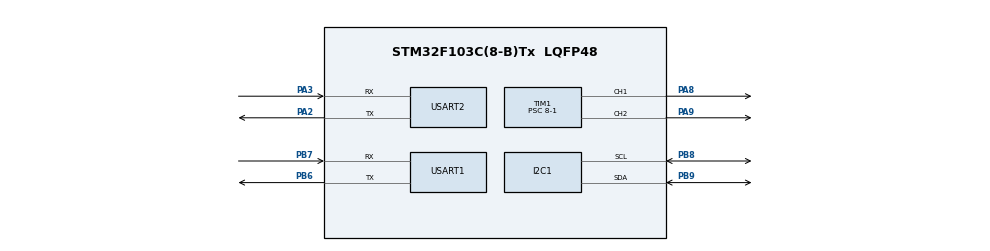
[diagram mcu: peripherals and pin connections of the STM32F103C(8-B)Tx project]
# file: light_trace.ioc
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Mcu.Family=STM32F1
Mcu.Name=STM32F103C(8-B)Tx
Mcu.Package=LQFP48
NVIC.PriorityGroup=NVIC_PRIORITYGROUP_4
NVIC.TIM2_IRQn=true\:0\:0\:true\:false\:true\:true\:true
NVIC.USART1_IRQn=true\:0\:0\:true\:false\:true\:true\:true
PA2.Mode=Asynchronous
PA2.Signal=USART2_TX
PA3.Mode=Asynchronous
PA3.Signal=USART2_RX
PA8.Signal=S_TIM1_CH1
PA9.Signal=S_TIM1_CH2
PB6.Mode=Asynchronous
PB6.Signal=USART1_TX
PB7.Mode=Asynchronous
PB7.Signal=USART1_RX
PB8.Mode=I2C
PB8.Signal=I2C1_SCL
PB9.Mode=I2C
PB9.Signal=I2C1_SDA
ProjectManager.HeapSize=0x200
ProjectManager.StackSize=0x400
ProjectManager.TargetToolchain=MDK-ARM V5.27
RCC.APB1Freq_Value=8000000
RCC.APB2Freq_Value=8000000
SH.S_TIM1_CH1.0=TIM1_CH1,PWM Generation1 CH1
SH.S_TIM1_CH2.0=TIM1_CH2,PWM Generation2 CH2
TIM1.AutoReloadPreload=TIM_AUTORELOAD_PRELOAD_ENABLE
TIM1.Channel-PWM\ Generation1\ CH1=TIM_CHANNEL_1
TIM1.Channel-PWM\ Generation2\ CH2=TIM_CHANNEL_2
TIM1.Period=20000
TIM1.Prescaler=8-1
TIM2.AutoReloadPreload=TIM_AUTORELOAD_PRELOAD_ENABLE
TIM2.Channel-Output\ Compare1\ No\ Output=TIM_CHANNEL_1
TIM2.Period=50000
TIM2.Prescaler=8-1
USART1.VirtualMode=VM_ASYNC
USART2.VirtualMode=VM_ASYNC
VP_SYS_VS_ND.Mode=No_Debug
VP_TIM1_VS_ClockSourceINT.Mode=Internal
VP_TIM2_VS_no_output1.Mode=Output Compare1 No Output
board=custom

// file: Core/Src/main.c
/* USER CODE BEGIN Header */
/**
  ******************************************************************************
  * @file           : main.c
  * @brief          : 激光追踪装置程序
  * @LastChangeTime : 2021.4.24 6:11
  * @version        : V2.0.0
  * @author         : MengCheng
  ******************************************************************************
  * @attention
  *
  * <h2><center>&copy; Copyright (c) 2021 STMicroelectronics.
  * All rights reserved.</center></h2>
  *
  * 此为武汉理工大学电赛初赛E题激光打靶工程文件，工程采用stm32f103c8t6为主控，与
  * 进行物体识别的openmv进行串口数据通信，从而达到追踪物体并成功打靶的效果。思路更改为PID调节
  * 程序大体上不再修改
  ******************************************************************************
  */

/* USER CODE END Header */
#include "main.h"
#include "i2c.h"
#include "tim.h"
#include "usart.h"
#include "gpio.h"

/* USER CODE BEGIN Includes */
#include "servo.h"
/* USER CODE END Includes */

/* USER CODE BEGIN PD */
/**
  * @brief  串口发送函数
  * @retval None
  */
#include "stdio.h"
#include "stdarg.h"
#include "string.h"

#define    TXBUF_SIZE_MAX    100

void uartx_printf(UART_HandleTypeDef huartx, const char *format, ...)
{
    va_list args;
    uint32_t length;
    uint8_t txbuf[TXBUF_SIZE_MAX] = {0};

    va_start(args, format);
    length = vsnprintf((char *)txbuf, sizeof(txbuf), (char *)format, args);
    va_end(args);
    HAL_UART_Transmit(&huartx, (uint8_t *)txbuf, length, HAL_MAX_DELAY);
    memset(txbuf, 0, TXBUF_SIZE_MAX);
};

/**
  * @brief  串口调试
  * @retval None
  */
#define DEBUG
#ifdef DEBUG
#define DBG(format, ...) fprintf(stdout, "[\tDBG](File:%s, Func:%s(), Line:%d): " \
                                 , __FILE__, __FUNCTION__, __LINE__);             \
                         fprintf(stdout, format"\r\n", ##__VA_ARGS__)
#else
#define DBG(format, ...)  do {} while (0)
#endif
/* USER CODE END PD */

/* USER CODE BEGIN PV */
uint8_t UART1_RxBuffer, UART2_RxBuffer;
uint8_t buffer1[8] = "\0";
uint16_t Real_x, Real_y, Rx_x, Rx_y;
uint8_t adjustment_flag = 0;
uint8_t Target_Flag = 0;

/* USER CODE END PV */

void SystemClock_Config(void);

/* USER CODE BEGIN 0 */
int fputc(int ch, FILE *f){
    uint8_t temp[1] = {ch};
    HAL_UART_Transmit(&huart2, temp, 1, 2);//huart1 根据配置修改
    return ch;
}
/* USER CODE END 0 */

int main(void)
{
  /* USER CODE BEGIN 1 */
//	uint8_t angle1 = 60;
//	uint8_t angle2 = 60;
//	int8_t angle_delta = 30;

  /* USER CODE END 1 */

  /* MCU Configuration--------------------------------------------------------*/

  /* Reset of all peripherals, Initializes the Flash interface and the Systick. */
  HAL_Init();

  /* USER CODE BEGIN Init */

  //DBG("have received successfully!\r\n");
  /* USER CODE END Init */

  /* Configure the system clock */
  SystemClock_Config();

  /* Initialize all configured peripherals */
  MX_GPIO_Init();
  MX_I2C1_Init();
  MX_TIM1_Init();
  MX_USART1_UART_Init();
  MX_USART2_UART_Init();
  MX_TIM2_Init();
  /* USER CODE BEGIN 2 */
	//system_init();
  HAL_TIM_Base_Start_IT(&htim2); //开启定时器中断
  HAL_TIM_PWM_Start(&htim1, TIM_CHANNEL_1); //开启pwm
	HAL_TIM_PWM_Start(&htim1, TIM_CHANNEL_2); //开启PWM
	HAL_UART_Receive_IT(&huart1, (uint8_t*)&UART1_RxBuffer, 1); //开启串口中断
  PID_Init();
//  DBG("hello");
  Servo_Init(); //云台初始化，两自由度均为90°
  PID_Init(); //PID初始化
//  DBG("hello");
  //DBG("have received successfully!\r\n");
  /* USER CODE END 2 */

  /* Infinite loop */
  /* USER CODE BEGIN WHILE */
  while (1)
  {
    //DBG("have received successfully!\r\n");
    /*调节方案一Servo_Platform_Search() == HAL_OK*/
//      while(Target_Flag == Target_Detected && Target_Location_Error > 1) //云台巡检
//        Servo_Platform_Track(Real_x, Real_y);

//    angle_delta =~ angle_delta;
//
//		Servo_SetAngles(1, 1, angle1+angle_delta, 1);
//		HAL_Delay(500);
//		Servo_SetAngles(1, 2, angle2+angle_delta, 1);
//		HAL_Delay(500);
//    uint8_t dt;
      //DBG("have received successfully!\r\n");

    /****      调节方案二：旋转角和俯仰角PID调节代码(应放在定时器里)      *****/
//    positionx_pid.measured_value =  Real_x;
//    positionx_pid.error          =  positionx_pid.measured_value - positionx_pid.set_value;
//    positionx_pid.integral       =  positionx_pid.integral + positionx_pid.error * dt; //dt为采样频率
//    positionx_pid.derival        =  (positionx_pid.error - positionx_pid.passive_error) / dt; //dt为采样频率（用定时器中断）
//    positionx_pid.output         =  positionx_pid.kp * positionx_pid.error + positionx_pid.ki * positionx_pid.integral + positionx_pid.kd * positionx_pid.derival;
//    positionx_pid.passive_error  =  positionx_pid.error;
//
//    positiony_pid.measured_value =  Real_y;
//    positiony_pid.error          =  positiony_pid.measured_value - positiony_pid.set_value;
//    positiony_pid.integral       =  positiony_pid.integral + positiony_pid.error * dt; //dt为采样频率
//    positiony_pid.derival        =  (positiony_pid.error - positiony_pid.passive_error) / dt; //dt为采样频率（用定时器中断）
//    positiony_pid.output         =  positiony_pid.kp * positiony_pid.error + positiony_pid.ki * positiony_pid.integral + positiony_pid.kd * positiony_pid.derival;
//    positiony_pid.passive_error  =  positiony_pid.error;
//
//    Servo_Platform_Track(positionx_pid.output, positiony_pid.output);
    /****      旋转角和俯仰角PID调节代码END      *****/

//    positionx_pid.measured_value =  Real_x;
//    positionx_pid.error          =  positionx_pid.set_value - positionx_pid.measured_value;
//    positionx_pid.integral       =  positionx_pid.integral + positionx_pid.error * dt; //dt为采样频率
//    positionx_pid.derival        =  (positionx_pid.error - positionx_pid.passive_error) / dt; //dt为采样频率（用定时器中断）
//    output_temp                  =  positionx_pid.kp * positionx_pid.error + positionx_pid.ki * positionx_pid.integral + positionx_pid.kd * positionx_pid.derival + Real_x;
//    positionx_pid.output         =  output_temp > 2500 ? 2500 : output_temp;
//    positionx_pid.output         =  output_temp <  500 ?  500 : output_temp;
//    positionx_pid.passive_error  =  positionx_pid.error;
//    //DBG("have received successfully!\r\n");
//    positiony_pid.measured_value =  Real_y;
//    positiony_pid.error          =  positiony_pid.set_value - positiony_pid.measured_value;
//    positiony_pid.integral       =  positiony_pid.integral + positiony_pid.error * dt; //dt为采样频率
//    positiony_pid.derival        =  (positiony_pid.error - positiony_pid.passive_error) / dt; //dt为采样频率（用定时器中断）
//    output_temp                  =  Real_y - positiony_pid.kp * positiony_pid.error + positiony_pid.ki * positiony_pid.integral + positiony_pid.kd * positiony_pid.derival ;
//    positionx_pid.output         =  output_temp > 2500 ? 2500 : output_temp;
//    positionx_pid.output         =  output_temp <  500 ?  500 : output_temp;
//    positiony_pid.passive_error  =  positiony_pid.error;
    /*每20ms采样一次*/
    // DBG("have received successfully!\r\n");
      //DBG("have received successfully!\r\n");

//    while(buffer1[i] != '\0'){
//      HAL_UART_Transmit(&huart2, buffer1+i, 1, HAL_MAX_DELAY);
//      i++;
//    }
    if(Target_Flag){
      Tim_SetPWM(1, 1, positionx_pid.output); //
      Tim_SetPWM(1, 2, positiony_pid.output);
    }
//      Tim_SetPWM(1,1,2500);
//      HAL_Delay(1000);
//      Tim_SetPWM(1,1,500);
//      HAL_Delay(1000);
    //DBG("have received successfully!\r\n");
  }
    /* USER CODE END WHILE */

}

void SystemClock_Config(void)
{
  RCC_OscInitTypeDef RCC_OscInitStruct = {0};
  RCC_ClkInitTypeDef RCC_ClkInitStruct = {0};

  /** Initializes the RCC Oscillators according to the specified parameters
  * in the RCC_OscInitTypeDef structure.
  */
  RCC_OscInitStruct.OscillatorType = RCC_OSCILLATORTYPE_HSI;
  RCC_OscInitStruct.HSIState = RCC_HSI_ON;
  RCC_OscInitStruct.HSICalibrationValue = RCC_HSICALIBRATION_DEFAULT;
  RCC_OscInitStruct.PLL.PLLState = RCC_PLL_NONE;
  if (HAL_RCC_OscConfig(&RCC_OscInitStruct) != HAL_OK)
  {
    Error_Handler();
  }
  /** Initializes the CPU, AHB and APB buses clocks
  */
  RCC_ClkInitStruct.ClockType = RCC_CLOCKTYPE_HCLK|RCC_CLOCKTYPE_SYSCLK
                              |RCC_CLOCKTYPE_PCLK1|RCC_CLOCKTYPE_PCLK2;
  RCC_ClkInitStruct.SYSCLKSource = RCC_SYSCLKSOURCE_HSI;
  RCC_ClkInitStruct.AHBCLKDivider = RCC_SYSCLK_DIV1;
  RCC_ClkInitStruct.APB1CLKDivider = RCC_HCLK_DIV1;
  RCC_ClkInitStruct.APB2CLKDivider = RCC_HCLK_DIV1;

  if (HAL_RCC_ClockConfig(&RCC_ClkInitStruct, FLASH_LATENCY_0) != HAL_OK)
  {
    Error_Handler();
  }
}

/* USER CODE BEGIN 4 */
/**
  * @brief  系统初始化
  * @param  None
  * @retval None
  */
//void system_init()
//{
////	servo_init();
//
//}

/**
  * @brief  串口中断回调函数
  * @param  huart:串口
  * @retval 外部函数调用的就是x,y坐标
  * @claim  首先测试一下这种接收方式的可行性，然后再考虑加入指针便利数组接收数据
  */
//void HAL_UART_RxCpltCallback(UART_HandleTypeDef *huart)
//{
//  uint8_t temp = 0;
//  static uint8_t flag = 0, count = 0;
//  static uint32_t sum = 0;

//  //__HAL_UART_CLEAR_PEFLAG(huart); //串口接收清空错误标志
//  if(huart -> Instance == USART1 ) //如果是串口1
//  {
//      //DBG("have received successfully!\r\n");
//      temp = UART1_RxBuffer;
//      if(flag)
//        count++;
//      if((count == 0) && (temp == 0xff)){
//        flag = 1;
//        buffer1[0] = temp;
//        //DBG("have received successfully!\r\n");
//      }
//      //DBG("have received successfully!\r\n");
//      else if(count == 1 && temp < 0xff){
//          buffer1[1] = temp;
//          Rx_x = temp << 8;
//      }
//
//      else if(count == 2){
//        if(temp == 0){
//          Target_Flag = 0;
//          buffer1[2] = temp;
//          //DBG("have received successfully!\r\n");
//        }
//        else{
//          Target_Flag = 1;
//          buffer1[2] = temp;
//          Rx_x |= temp;
//          sum = Rx_x;
//        }
//      }
//
//      else if(count == 3){
//        buffer1[3] = temp;
//        Rx_y = temp << 8;
//
//      }
//      else if(count == 4){
//        buffer1[4] = temp;
//        Rx_y |= temp;
//        Real_y = Rx_y;
//        sum += temp;
//      }
//      else if(count == 5 && sum%254 == temp){
//        buffer1[5] = temp;
//        if(Target_Flag == 1){
//         Real_x = Rx_x;
//         Real_y = Rx_y;
//        }
////        buffer1[6] = temp;
//        //DBG("have received successfully!\r\n");
////        Target_Flag = Target_Detected;
//        //DBG("have received successfully!\r\n");
//      }
//      //DBG("have received successfully!\r\n");
//     else if((count == 6) && (temp == 0xfe))
//     {
//       count = 0;
//       flag = 0;
//       //DBG("have received successfully!\r\n");
//     }
//
////        //加个数据处理
//     //uartx_printf(huart2, "%x %x %x %x %x\r\n", 0xff, Real_x, Real_y, buffer1[5], 0xfe);
//     HAL_UART_Receive_IT(&huart1, (uint8_t*)&UART1_RxBuffer, 1); //重新开启中断
//        //HAL_UART_Transmit(&huart2, &Real_x, 1, HAL_MAX_DELAY);
//   }
//
//}
 /*封存*/
void HAL_UART_RxCpltCallback(UART_HandleTypeDef *huart)
{
  static uint8_t count = 0;
  static uint32_t sum = 0;
  if(huart -> Instance == USART1) //如果是串口1
  {
      if((count == 0) && (UART1_RxBuffer == 0xff))
      {
        count++;
        buffer1[0] = UART1_RxBuffer;
      }
      else if(count == 1 && UART1_RxBuffer < 0xff)
        {
          buffer1[1] = UART1_RxBuffer;
          count++;
        }
      else if(count == 2 && UART1_RxBuffer <= 0xff)
      {
          buffer1[2] = UART1_RxBuffer;
          count++;
        if(UART1_RxBuffer == 0)
        {
          Target_Flag = 0;
        }
        else
        {
          Target_Flag = 1;
        }
      }
      else if(count == 3 && UART1_RxBuffer < 0xff)
      {
          buffer1[3] = UART1_RxBuffer;
          count++;
      }
      else if(count == 4 && UART1_RxBuffer <= 0xff)
      {
          buffer1[4] = UART1_RxBuffer;
          count++;
          sum= ((buffer1[1]<<8|buffer1[2])+(buffer1[3]<<8|buffer1[4]))%254;
      }
      else if(count == 5 && UART1_RxBuffer==sum)
      {
          buffer1[5] = UART1_RxBuffer;
          count++;
      }
      else if((count == 6) && (UART1_RxBuffer == 0xfe))
      {
          count = 0;
          buffer1[6] = UART1_RxBuffer;
          Real_x=buffer1[1]<<8|buffer1[2];
          Real_y=buffer1[3]<<8|buffer1[4];
          //HAL_UART_Transmit(&huart2, buffer1, 7, HAL_MAX_DELAY);
      }
      else
      {
         count = 0;
         Target_Flag =0;
      }
//        //加个数据处理
     //uartx_printf(huart2, "%x %x %x %x %x\r\n", 0xff, Real_x, Real_y, buffer1[5], 0xfe);
     HAL_UART_Receive_IT(&huart1, (uint8_t*)&UART1_RxBuffer, 1); //重新开启中断

   }
}

/*20ms为周期开始的中断*/
/**
  * @brief  定时器中断回调函数
  * @param  xxxx
  * @retval xxxx
  * @claim  我们只需要输入误差值，即返回要输入的pulses,如果采样频率过快可以后期增加
  */
void HAL_TIM_PeriodElapsedCallback(TIM_HandleTypeDef *htim) {

  //DBG("have received successfully!\r\n");
  //DBG("have received successfully!\r\n");
//  uint32_t output_temp;
  if (htim->Instance == htim2.Instance){
    positionx_pid.measured_value =  Real_x;
    positionx_pid.error          =  positionx_pid.measured_value - positionx_pid.set_value;
    positionx_pid.integral       =  positionx_pid.integral + positionx_pid.error * 0.02; //dt为采样频率
    positionx_pid.derival        =  (positionx_pid.error - positionx_pid.passive_error) / 0.02; //dt为采样频率（用定时器中断）
    positionx_pid.output         =  current_pulses_x - (positionx_pid.kp * positionx_pid.error + positionx_pid.ki * positionx_pid.integral + positionx_pid.kd * positionx_pid.derival);

    //    positionx_pid.output         =  output_temp > 1500 ? 1500 : output_temp;
//    positionx_pid.output         =  output_temp <  500 ?  500 : output_temp;
    positionx_pid.passive_error  =  positionx_pid.error;
    //DBG("have received successfully!\r\n");
    positiony_pid.measured_value =  Real_y;
    positiony_pid.error          =  positiony_pid.measured_value - positiony_pid.set_value;
    positiony_pid.integral       =  positiony_pid.integral + positiony_pid.error * 0.02; //dt为采样频率
    positiony_pid.derival        =  (positiony_pid.error - positiony_pid.passive_error) / 0.02; //dt为采样频率（用定时器中断）
    positiony_pid.output         =  current_pulses_y + (positiony_pid.kp * positiony_pid.error + positiony_pid.ki * positiony_pid.integral + positiony_pid.kd * positiony_pid.derival) ;

    //    positionx_pid.output         =  output_temp > 1500 ? 1500 : output_temp;
//    positionx_pid.output         =  output_temp <  500 ?  500 : output_temp;
    positiony_pid.passive_error  =  positiony_pid.error;

  }
  //HAL_TIM_Base_Start_IT(&htim2); //开启定时器中断
}
/* USER CODE END 4 */

void Error_Handler(void)
{
}

/************************ (C) COPYRIGHT STMicroelectronics *****END OF FILE****/
